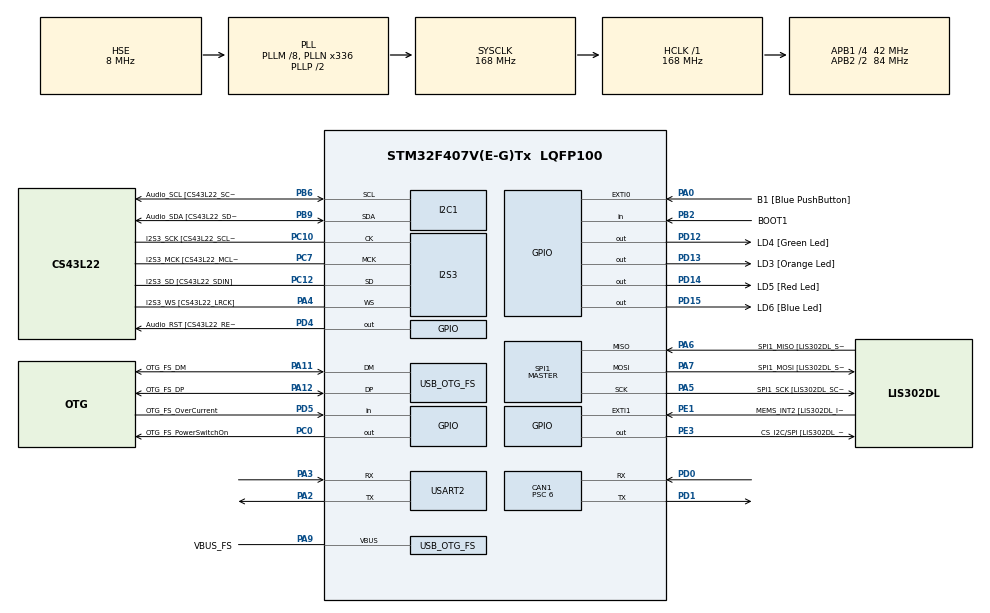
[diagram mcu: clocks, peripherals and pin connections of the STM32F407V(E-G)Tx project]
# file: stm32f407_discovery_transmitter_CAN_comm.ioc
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CAN1.ABOM=ENABLE
CAN1.BS1=CAN_BS1_11TQ
CAN1.BS2=CAN_BS2_2TQ
CAN1.CalculateBaudRate=500000
CAN1.CalculateTimeBit=2000
CAN1.CalculateTimeQuantum=142.85714285714286
CAN1.NART=ENABLE
CAN1.Prescaler=6
I2S3.AudioFreq-Half_Duplex_Master=I2S_AUDIOFREQ_96K
I2S3.ErrorAudioFreq=-2.34 %
I2S3.ErrorAudioFreq-Half_Duplex_Master=0.8 %
I2S3.FullDuplexMode=I2S_FULLDUPLEXMODE_DISABLE
I2S3.Instance=SPI$Index
I2S3.RealAudioFreq=93.75 KHz
I2S3.RealAudioFreq-Half_Duplex_Master=96.774 KHz
I2S3.VirtualMode=I2S_MODE_MASTER
Mcu.Family=STM32F4
Mcu.Name=STM32F407V(E-G)Tx
Mcu.Package=LQFP100
NVIC.CAN1_TX_IRQn=true\:0\:0\:false\:false\:true\:true\:true\:true
NVIC.OTG_FS_IRQn=true\:0\:0\:false\:false\:true\:true\:true\:true
NVIC.PriorityGroup=NVIC_PRIORITYGROUP_0
PA0-WKUP.GPIO_Label=B1 [Blue PushButton]
PA0-WKUP.GPIO_ModeDefaultEXTI=GPIO_MODE_EVT_RISING
PA0-WKUP.GPIO_PuPd=GPIO_NOPULL
PA0-WKUP.Signal=GPXTI0
PA10.GPIO_Label=OTG_FS_ID
PA10.GPIO_Mode=GPIO_MODE_AF_PP
PA10.GPIO_PuPd=GPIO_NOPULL
PA10.GPIO_Speed=GPIO_SPEED_FREQ_LOW
PA10.Signal=USB_OTG_FS_ID
PA11.GPIO_Label=OTG_FS_DM
PA11.GPIO_Mode=GPIO_MODE_AF_PP
PA11.GPIO_PuPd=GPIO_NOPULL
PA11.GPIO_Speed=GPIO_SPEED_FREQ_LOW
PA11.Mode=Host_Only
PA11.Signal=USB_OTG_FS_DM
PA12.GPIO_Label=OTG_FS_DP
PA12.GPIO_Mode=GPIO_MODE_AF_PP
PA12.GPIO_PuPd=GPIO_NOPULL
PA12.GPIO_Speed=GPIO_SPEED_FREQ_LOW
PA12.Mode=Host_Only
PA12.Signal=USB_OTG_FS_DP
PA13.GPIO_Label=SWDIO
PA13.Mode=Serial_Wire
PA13.Signal=SYS_JTMS-SWDIO
PA14.GPIO_Label=SWCLK
PA14.Mode=Serial_Wire
PA14.Signal=SYS_JTCK-SWCLK
PA2.Mode=Asynchronous
PA2.Signal=USART2_TX
PA3.Mode=Asynchronous
PA3.Signal=USART2_RX
PA4.GPIO_Label=I2S3_WS [CS43L22_LRCK]
PA4.GPIO_Mode=GPIO_MODE_AF_PP
PA4.GPIO_PuPd=GPIO_NOPULL
PA4.GPIO_Speed=GPIO_SPEED_FREQ_LOW
PA4.Mode=Half_Duplex_Master
PA4.Signal=I2S3_WS
PA5.GPIO_Label=SPI1_SCK [LIS302DL_SCL/SPC]
PA5.GPIO_Mode=GPIO_MODE_AF_PP
PA5.GPIO_PuPd=GPIO_NOPULL
PA5.GPIO_Speed=GPIO_SPEED_FREQ_LOW
PA5.Mode=Full_Duplex_Master
PA5.Signal=SPI1_SCK
PA6.GPIO_Label=SPI1_MISO [LIS302DL_SDO]
PA6.GPIO_Mode=GPIO_MODE_AF_PP
PA6.GPIO_PuPd=GPIO_NOPULL
PA6.GPIO_Speed=GPIO_SPEED_FREQ_LOW
PA6.Mode=Full_Duplex_Master
PA6.Signal=SPI1_MISO
PA7.GPIO_Label=SPI1_MOSI [LIS302DL_SDA/SDI/SDO]
PA7.GPIO_Mode=GPIO_MODE_AF_PP
PA7.GPIO_PuPd=GPIO_NOPULL
PA7.GPIO_Speed=GPIO_SPEED_FREQ_LOW
PA7.Mode=Full_Duplex_Master
PA7.Signal=SPI1_MOSI
PA9.GPIO_Label=VBUS_FS
PA9.GPIO_Mode=GPIO_MODE_INPUT
PA9.GPIO_PuPd=GPIO_NOPULL
PA9.Mode=Activate_VBUS
PA9.Signal=USB_OTG_FS_VBUS
PB10.GPIO_Label=CLK_IN [MP45DT02_CLK]
PB10.GPIO_Mode=GPIO_MODE_AF_PP
PB10.GPIO_PuPd=GPIO_NOPULL
PB10.GPIO_Speed=GPIO_SPEED_FREQ_LOW
PB10.Signal=I2S2_CK
PB2.GPIO_Label=BOOT1
PB2.GPIO_Mode=GPIO_MODE_INPUT
PB2.GPIO_PuPd=GPIO_NOPULL
PB2.Signal=GPIO_Input
PB3.GPIO_Label=SWO
PB3.Signal=SYS_JTDO-SWO
PB6.GPIO_Label=Audio_SCL [CS43L22_SCL]
PB6.GPIO_Mode=GPIO_MODE_AF_OD
PB6.GPIO_Pu=GPIO_PULLUP
PB6.GPIO_PuPd=GPIO_NOPULL
PB6.GPIO_Speed=GPIO_SPEED_FREQ_LOW
PB6.Mode=I2C
PB6.Signal=I2C1_SCL
PB9.GPIO_Label=Audio_SDA [CS43L22_SDA]
PB9.GPIO_Mode=GPIO_MODE_AF_OD
PB9.GPIO_Pu=GPIO_PULLUP
PB9.GPIO_PuPd=GPIO_NOPULL
PB9.GPIO_Speed=GPIO_SPEED_FREQ_LOW
PB9.Mode=I2C
PB9.Signal=I2C1_SDA
PC0.GPIO_Label=OTG_FS_PowerSwitchOn
PC0.GPIO_PuPd=GPIO_NOPULL
PC0.GPIO_Speed=GPIO_SPEED_FREQ_LOW
PC0.PinState=GPIO_PIN_SET
PC0.Signal=GPIO_Output
PC10.GPIO_Label=I2S3_SCK [CS43L22_SCLK]
PC10.GPIO_Mode=GPIO_MODE_AF_PP
PC10.GPIO_PuPd=GPIO_NOPULL
PC10.GPIO_Speed=GPIO_SPEED_FREQ_LOW
PC10.Mode=Half_Duplex_Master
PC10.Signal=I2S3_CK
PC12.GPIO_Label=I2S3_SD [CS43L22_SDIN]
PC12.GPIO_Mode=GPIO_MODE_AF_PP
PC12.GPIO_PuPd=GPIO_NOPULL
PC12.GPIO_Speed=GPIO_SPEED_FREQ_LOW
PC12.Mode=Half_Duplex_Master
PC12.Signal=I2S3_SD
PC14-OSC32_IN.GPIO_Label=PC14-OSC32_IN
PC14-OSC32_IN.Mode=LSE-External-Oscillator
PC14-OSC32_IN.Signal=RCC_OSC32_IN
PC15-OSC32_OUT.GPIO_Label=PC15-OSC32_OUT
PC15-OSC32_OUT.Mode=LSE-External-Oscillator
PC15-OSC32_OUT.Signal=RCC_OSC32_OUT
PC3.GPIO_Label=PDM_OUT [MP45DT02_DOUT]
PC3.GPIO_Mode=GPIO_MODE_AF_PP
PC3.GPIO_PuPd=GPIO_NOPULL
PC3.GPIO_Speed=GPIO_SPEED_FREQ_LOW
PC3.Signal=I2S2_SD
PC7.GPIO_Label=I2S3_MCK [CS43L22_MCLK]
PC7.GPIO_Mode=GPIO_MODE_AF_PP
PC7.GPIO_PuPd=GPIO_NOPULL
PC7.GPIO_Speed=GPIO_SPEED_FREQ_LOW
PC7.Mode=Master_Clock_Activated
PC7.Signal=I2S3_MCK
PD0.Mode=CAN_Activate
PD0.Signal=CAN1_RX
PD1.Mode=CAN_Activate
PD1.Signal=CAN1_TX
PD12.GPIO_Label=LD4 [Green Led]
PD12.GPIO_PuPd=GPIO_NOPULL
PD12.GPIO_Speed=GPIO_SPEED_FREQ_LOW
PD12.Signal=GPIO_Output
PD13.GPIO_Label=LD3 [Orange Led]
PD13.GPIO_PuPd=GPIO_NOPULL
PD13.GPIO_Speed=GPIO_SPEED_FREQ_LOW
PD13.Signal=GPIO_Output
PD14.GPIO_Label=LD5 [Red Led]
PD14.GPIO_PuPd=GPIO_NOPULL
PD14.GPIO_Speed=GPIO_SPEED_FREQ_LOW
PD14.Signal=GPIO_Output
PD15.GPIO_Label=LD6 [Blue Led]
PD15.GPIO_PuPd=GPIO_NOPULL
PD15.GPIO_Speed=GPIO_SPEED_FREQ_LOW
PD15.Signal=GPIO_Output
PD4.GPIO_Label=Audio_RST [CS43L22_RESET]
PD4.GPIO_PuPd=GPIO_NOPULL
PD4.GPIO_Speed=GPIO_SPEED_FREQ_LOW
PD4.Signal=GPIO_Output
PD5.GPIO_Label=OTG_FS_OverCurrent
PD5.GPIO_Mode=GPIO_MODE_INPUT
PD5.GPIO_PuPd=GPIO_NOPULL
PD5.Signal=GPIO_Input
PE1.GPIO_Label=MEMS_INT2 [LIS302DL_INT2]
PE1.GPIO_ModeDefaultEXTI=GPIO_MODE_EVT_RISING
PE1.GPIO_PuPd=GPIO_NOPULL
PE1.Signal=GPXTI1
PE3.GPIO_Label=CS_I2C/SPI [LIS302DL_CS_I2C/SPI]
PE3.GPIO_PuPd=GPIO_NOPULL
PE3.GPIO_Speed=GPIO_SPEED_FREQ_LOW
PE3.Signal=GPIO_Output
PH0-OSC_IN.GPIO_Label=PH0-OSC_IN
PH0-OSC_IN.Mode=HSE-External-Oscillator
PH0-OSC_IN.Signal=RCC_OSC_IN
PH1-OSC_OUT.GPIO_Label=PH1-OSC_OUT
PH1-OSC_OUT.Mode=HSE-External-Oscillator
PH1-OSC_OUT.Signal=RCC_OSC_OUT
ProjectManager.HeapSize=0x200
ProjectManager.StackSize=0x400
ProjectManager.TargetToolchain=STM32CubeIDE
RCC.48MHZClocksFreq_Value=48000000
RCC.AHBFreq_Value=168000000
RCC.APB1CLKDivider=RCC_HCLK_DIV4
RCC.APB1Freq_Value=42000000
RCC.APB1TimFreq_Value=84000000
RCC.APB2CLKDivider=RCC_HCLK_DIV2
RCC.APB2Freq_Value=84000000
RCC.APB2TimFreq_Value=168000000
RCC.CortexFreq_Value=168000000
RCC.HCLKFreq_Value=168000000
RCC.HSE_VALUE=8000000
RCC.HSI_VALUE=16000000
RCC.PLLM=8
RCC.PLLN=336
RCC.PLLQ=7
RCC.SYSCLKFreq_VALUE=168000000
RCC.SYSCLKSource=RCC_SYSCLKSOURCE_PLLCLK
RCC.VCOOutputFreq_Value=336000000
SPI1.BaudRatePrescaler-Full_Duplex_Master=SPI_BAUDRATEPRESCALER_2
SPI1.CalculateBaudRate-Full_Duplex_Master=42.0 MBits/s
SPI1.Direction=SPI_DIRECTION_2LINES
SPI1.Mode=SPI_MODE_MASTER
SPI1.Mode-Full_Duplex_Master=SPI_MODE_MASTER
SPI1.VirtualType=VM_MASTER
USART2.VirtualMode=VM_ASYNC
USB_HOST.BSP.number=1
USB_HOST.USBH_HandleTypeDef-CDC_FS=hUsbHostFS
USB_HOST.VirtualModeFS=Cdc
USB_HOST0.BSP.STBoard=false
USB_HOST0.BSP.api=Unknown
USB_HOST0.BSP.instance=PC0
USB_HOST0.BSP.ip=GPIO
USB_HOST0.BSP.mode=Output
USB_HOST0.BSP.name=Drive_VBUS_FS
USB_HOST0.BSP.solution=PC0
USB_OTG_FS.VirtualMode=Host_Only
USB_OTG_FS.phy_itface=HCD_PHY_EMBEDDED
VP_USB_HOST_VS_USB_HOST_CDC_FS.Mode=CDC_FS
board=STM32F407G-DISC1

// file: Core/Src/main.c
/* USER CODE BEGIN Header */
/**
  ******************************************************************************
  * @file           : main.c
  * @brief          : Main program body
  ******************************************************************************
  * @attention
  *
  * Copyright (c) 2026 STMicroelectronics.
  * All rights reserved.
  *
  * This software is licensed under terms that can be found in the LICENSE file
  * in the root directory of this software component.
  * If no LICENSE file comes with this software, it is provided AS-IS.
  *
  ******************************************************************************
  */
/* USER CODE END Header */
#include "main.h"
#include "usb_host.h"

/* USER CODE BEGIN Includes */
#include<stdio.h>
/* USER CODE END Includes */

CAN_HandleTypeDef hcan1;

I2C_HandleTypeDef hi2c1;

I2S_HandleTypeDef hi2s3;

SPI_HandleTypeDef hspi1;

UART_HandleTypeDef huart2;

void SystemClock_Config(void);
static void MX_GPIO_Init(void);
static void MX_I2C1_Init(void);
static void MX_I2S3_Init(void);
static void MX_SPI1_Init(void);
static void MX_CAN1_Init(void);
static void MX_USART2_UART_Init(void);
void MX_USB_HOST_Process(void);

int main(void)
{

  /* MCU Configuration--------------------------------------------------------*/

  /* Reset of all peripherals, Initializes the Flash interface and the Systick. */
  HAL_Init();

  /* Configure the system clock */
  SystemClock_Config();

  /* Initialize all configured peripherals */
  MX_GPIO_Init();
  MX_I2C1_Init();
  MX_I2S3_Init();
  MX_SPI1_Init();
  MX_USB_HOST_Init();
  MX_CAN1_Init();
  MX_USART2_UART_Init();
  /* USER CODE BEGIN 2 */
  CAN_TxHeaderTypeDef TxHeader;
  	      uint8_t TxData[9] = "Bhanusri";
  	      uint32_t TxMailbox;

  CAN_FilterTypeDef sFilterConfig;

  sFilterConfig.FilterBank = 0;
  sFilterConfig.FilterMode = CAN_FILTERMODE_IDMASK;
  sFilterConfig.FilterScale = CAN_FILTERSCALE_32BIT;
  sFilterConfig.FilterIdHigh = 0x0000;
  sFilterConfig.FilterIdLow = 0x0000;
  sFilterConfig.FilterMaskIdHigh = 0x0000;
  sFilterConfig.FilterMaskIdLow = 0x0000;
  sFilterConfig.FilterFIFOAssignment = CAN_RX_FIFO0;
  sFilterConfig.FilterActivation = ENABLE;
  sFilterConfig.SlaveStartFilterBank = 14;

  HAL_CAN_ConfigFilter(&hcan1, &sFilterConfig);

  HAL_CAN_Start(&hcan1);
  HAL_CAN_ActivateNotification(&hcan1,
      CAN_IT_TX_MAILBOX_EMPTY |
      CAN_IT_ERROR |
      CAN_IT_BUSOFF);

  printf("CAN Started Successfully\r\n");

  TxHeader.StdId = 0x123;
  TxHeader.ExtId = 0;
  TxHeader.RTR = CAN_RTR_DATA;
  TxHeader.IDE = CAN_ID_STD;
  TxHeader.DLC = 8;
  TxHeader.TransmitGlobalTime = DISABLE;
  /* USER CODE END 2 */

  /* Infinite loop */
  /* USER CODE BEGIN WHILE */
  while (1)
  {

	      TxHeader.StdId = 0x123;
	      TxHeader.ExtId = 0;
	      TxHeader.RTR = CAN_RTR_DATA;
	      TxHeader.IDE = CAN_ID_STD;
	      TxHeader.DLC = 8;
	      TxHeader.TransmitGlobalTime = DISABLE;

	      while (HAL_CAN_GetTxMailboxesFreeLevel(&hcan1) == 0);

	      HAL_StatusTypeDef status;
	      	  status = HAL_CAN_AddTxMessage(&hcan1, &TxHeader, TxData, &TxMailbox);
	      	if (status == HAL_OK)
	      	{
	      	    printf("Message loaded into mailbox\r\n");
	      	}
	      	else
	      	{
	      	    printf("Mailbox Error\r\n");
	      	}

	      HAL_Delay(5000);   // send every 5 seconds

    /* USER CODE END WHILE */
    MX_USB_HOST_Process();

  }
}

void SystemClock_Config(void)
{
  RCC_OscInitTypeDef RCC_OscInitStruct = {0};
  RCC_ClkInitTypeDef RCC_ClkInitStruct = {0};

  /** Configure the main internal regulator output voltage
  */
  __HAL_RCC_PWR_CLK_ENABLE();
  __HAL_PWR_VOLTAGESCALING_CONFIG(PWR_REGULATOR_VOLTAGE_SCALE1);

  /** Initializes the RCC Oscillators according to the specified parameters
  * in the RCC_OscInitTypeDef structure.
  */
  RCC_OscInitStruct.OscillatorType = RCC_OSCILLATORTYPE_HSE;
  RCC_OscInitStruct.HSEState = RCC_HSE_ON;
  RCC_OscInitStruct.PLL.PLLState = RCC_PLL_ON;
  RCC_OscInitStruct.PLL.PLLSource = RCC_PLLSOURCE_HSE;
  RCC_OscInitStruct.PLL.PLLM = 8;
  RCC_OscInitStruct.PLL.PLLN = 336;
  RCC_OscInitStruct.PLL.PLLP = RCC_PLLP_DIV2;
  RCC_OscInitStruct.PLL.PLLQ = 7;
  if (HAL_RCC_OscConfig(&RCC_OscInitStruct) != HAL_OK)
  {
    Error_Handler();
  }

  /** Initializes the CPU, AHB and APB buses clocks
  */
  RCC_ClkInitStruct.ClockType = RCC_CLOCKTYPE_HCLK|RCC_CLOCKTYPE_SYSCLK
                              |RCC_CLOCKTYPE_PCLK1|RCC_CLOCKTYPE_PCLK2;
  RCC_ClkInitStruct.SYSCLKSource = RCC_SYSCLKSOURCE_PLLCLK;
  RCC_ClkInitStruct.AHBCLKDivider = RCC_SYSCLK_DIV1;
  RCC_ClkInitStruct.APB1CLKDivider = RCC_HCLK_DIV4;
  RCC_ClkInitStruct.APB2CLKDivider = RCC_HCLK_DIV2;

  if (HAL_RCC_ClockConfig(&RCC_ClkInitStruct, FLASH_LATENCY_5) != HAL_OK)
  {
    Error_Handler();
  }
}

static void MX_CAN1_Init(void)
{

  hcan1.Instance = CAN1;
  hcan1.Init.Prescaler = 6;
  hcan1.Init.Mode = CAN_MODE_NORMAL;
  hcan1.Init.SyncJumpWidth = CAN_SJW_1TQ;
  hcan1.Init.TimeSeg1 = CAN_BS1_11TQ;
  hcan1.Init.TimeSeg2 = CAN_BS2_2TQ;
  hcan1.Init.TimeTriggeredMode = DISABLE;
  hcan1.Init.AutoBusOff = ENABLE;
  hcan1.Init.AutoWakeUp = DISABLE;
  hcan1.Init.AutoRetransmission = ENABLE;
  hcan1.Init.ReceiveFifoLocked = DISABLE;
  hcan1.Init.TransmitFifoPriority = DISABLE;
  if (HAL_CAN_Init(&hcan1) != HAL_OK)
  {
    Error_Handler();
  }

}

static void MX_I2C1_Init(void)
{

  hi2c1.Instance = I2C1;
  hi2c1.Init.ClockSpeed = 100000;
  hi2c1.Init.DutyCycle = I2C_DUTYCYCLE_2;
  hi2c1.Init.OwnAddress1 = 0;
  hi2c1.Init.AddressingMode = I2C_ADDRESSINGMODE_7BIT;
  hi2c1.Init.DualAddressMode = I2C_DUALADDRESS_DISABLE;
  hi2c1.Init.OwnAddress2 = 0;
  hi2c1.Init.GeneralCallMode = I2C_GENERALCALL_DISABLE;
  hi2c1.Init.NoStretchMode = I2C_NOSTRETCH_DISABLE;
  if (HAL_I2C_Init(&hi2c1) != HAL_OK)
  {
    Error_Handler();
  }

}

static void MX_I2S3_Init(void)
{

  hi2s3.Instance = SPI3;
  hi2s3.Init.Mode = I2S_MODE_MASTER_TX;
  hi2s3.Init.Standard = I2S_STANDARD_PHILIPS;
  hi2s3.Init.DataFormat = I2S_DATAFORMAT_16B;
  hi2s3.Init.MCLKOutput = I2S_MCLKOUTPUT_ENABLE;
  hi2s3.Init.AudioFreq = I2S_AUDIOFREQ_96K;
  hi2s3.Init.CPOL = I2S_CPOL_LOW;
  hi2s3.Init.ClockSource = I2S_CLOCK_PLL;
  hi2s3.Init.FullDuplexMode = I2S_FULLDUPLEXMODE_DISABLE;
  if (HAL_I2S_Init(&hi2s3) != HAL_OK)
  {
    Error_Handler();
  }

}

static void MX_SPI1_Init(void)
{

  /* SPI1 parameter configuration*/
  hspi1.Instance = SPI1;
  hspi1.Init.Mode = SPI_MODE_MASTER;
  hspi1.Init.Direction = SPI_DIRECTION_2LINES;
  hspi1.Init.DataSize = SPI_DATASIZE_8BIT;
  hspi1.Init.CLKPolarity = SPI_POLARITY_LOW;
  hspi1.Init.CLKPhase = SPI_PHASE_1EDGE;
  hspi1.Init.NSS = SPI_NSS_SOFT;
  hspi1.Init.BaudRatePrescaler = SPI_BAUDRATEPRESCALER_2;
  hspi1.Init.FirstBit = SPI_FIRSTBIT_MSB;
  hspi1.Init.TIMode = SPI_TIMODE_DISABLE;
  hspi1.Init.CRCCalculation = SPI_CRCCALCULATION_DISABLE;
  hspi1.Init.CRCPolynomial = 10;
  if (HAL_SPI_Init(&hspi1) != HAL_OK)
  {
    Error_Handler();
  }

}

static void MX_USART2_UART_Init(void)
{

  huart2.Instance = USART2;
  huart2.Init.BaudRate = 115200;
  huart2.Init.WordLength = UART_WORDLENGTH_8B;
  huart2.Init.StopBits = UART_STOPBITS_1;
  huart2.Init.Parity = UART_PARITY_NONE;
  huart2.Init.Mode = UART_MODE_TX_RX;
  huart2.Init.HwFlowCtl = UART_HWCONTROL_NONE;
  huart2.Init.OverSampling = UART_OVERSAMPLING_16;
  if (HAL_UART_Init(&huart2) != HAL_OK)
  {
    Error_Handler();
  }

}

static void MX_GPIO_Init(void)
{
  GPIO_InitTypeDef GPIO_InitStruct = {0};

  /* GPIO Ports Clock Enable */
  __HAL_RCC_GPIOE_CLK_ENABLE();
  __HAL_RCC_GPIOC_CLK_ENABLE();
  __HAL_RCC_GPIOH_CLK_ENABLE();
  __HAL_RCC_GPIOA_CLK_ENABLE();
  __HAL_RCC_GPIOB_CLK_ENABLE();
  __HAL_RCC_GPIOD_CLK_ENABLE();

  /*Configure GPIO pin Output Level */
  HAL_GPIO_WritePin(CS_I2C_SPI_GPIO_Port, CS_I2C_SPI_Pin, GPIO_PIN_RESET);

  /*Configure GPIO pin Output Level */
  HAL_GPIO_WritePin(OTG_FS_PowerSwitchOn_GPIO_Port, OTG_FS_PowerSwitchOn_Pin, GPIO_PIN_SET);

  /*Configure GPIO pin Output Level */
  HAL_GPIO_WritePin(GPIOD, LD4_Pin|LD3_Pin|LD5_Pin|LD6_Pin
                          |Audio_RST_Pin, GPIO_PIN_RESET);

  /*Configure GPIO pin : CS_I2C_SPI_Pin */
  GPIO_InitStruct.Pin = CS_I2C_SPI_Pin;
  GPIO_InitStruct.Mode = GPIO_MODE_OUTPUT_PP;
  GPIO_InitStruct.Pull = GPIO_NOPULL;
  GPIO_InitStruct.Speed = GPIO_SPEED_FREQ_LOW;
  HAL_GPIO_Init(CS_I2C_SPI_GPIO_Port, &GPIO_InitStruct);

  /*Configure GPIO pin : OTG_FS_PowerSwitchOn_Pin */
  GPIO_InitStruct.Pin = OTG_FS_PowerSwitchOn_Pin;
  GPIO_InitStruct.Mode = GPIO_MODE_OUTPUT_PP;
  GPIO_InitStruct.Pull = GPIO_NOPULL;
  GPIO_InitStruct.Speed = GPIO_SPEED_FREQ_LOW;
  HAL_GPIO_Init(OTG_FS_PowerSwitchOn_GPIO_Port, &GPIO_InitStruct);

  /*Configure GPIO pin : PDM_OUT_Pin */
  GPIO_InitStruct.Pin = PDM_OUT_Pin;
  GPIO_InitStruct.Mode = GPIO_MODE_AF_PP;
  GPIO_InitStruct.Pull = GPIO_NOPULL;
  GPIO_InitStruct.Speed = GPIO_SPEED_FREQ_LOW;
  GPIO_InitStruct.Alternate = GPIO_AF5_SPI2;
  HAL_GPIO_Init(PDM_OUT_GPIO_Port, &GPIO_InitStruct);

  /*Configure GPIO pin : B1_Pin */
  GPIO_InitStruct.Pin = B1_Pin;
  GPIO_InitStruct.Mode = GPIO_MODE_EVT_RISING;
  GPIO_InitStruct.Pull = GPIO_NOPULL;
  HAL_GPIO_Init(B1_GPIO_Port, &GPIO_InitStruct);

  /*Configure GPIO pin : BOOT1_Pin */
  GPIO_InitStruct.Pin = BOOT1_Pin;
  GPIO_InitStruct.Mode = GPIO_MODE_INPUT;
  GPIO_InitStruct.Pull = GPIO_NOPULL;
  HAL_GPIO_Init(BOOT1_GPIO_Port, &GPIO_InitStruct);

  /*Configure GPIO pin : CLK_IN_Pin */
  GPIO_InitStruct.Pin = CLK_IN_Pin;
  GPIO_InitStruct.Mode = GPIO_MODE_AF_PP;
  GPIO_InitStruct.Pull = GPIO_NOPULL;
  GPIO_InitStruct.Speed = GPIO_SPEED_FREQ_LOW;
  GPIO_InitStruct.Alternate = GPIO_AF5_SPI2;
  HAL_GPIO_Init(CLK_IN_GPIO_Port, &GPIO_InitStruct);

  /*Configure GPIO pins : LD4_Pin LD3_Pin LD5_Pin LD6_Pin
                           Audio_RST_Pin */
  GPIO_InitStruct.Pin = LD4_Pin|LD3_Pin|LD5_Pin|LD6_Pin
                          |Audio_RST_Pin;
  GPIO_InitStruct.Mode = GPIO_MODE_OUTPUT_PP;
  GPIO_InitStruct.Pull = GPIO_NOPULL;
  GPIO_InitStruct.Speed = GPIO_SPEED_FREQ_LOW;
  HAL_GPIO_Init(GPIOD, &GPIO_InitStruct);

  /*Configure GPIO pin : OTG_FS_OverCurrent_Pin */
  GPIO_InitStruct.Pin = OTG_FS_OverCurrent_Pin;
  GPIO_InitStruct.Mode = GPIO_MODE_INPUT;
  GPIO_InitStruct.Pull = GPIO_NOPULL;
  HAL_GPIO_Init(OTG_FS_OverCurrent_GPIO_Port, &GPIO_InitStruct);

  /*Configure GPIO pin : MEMS_INT2_Pin */
  GPIO_InitStruct.Pin = MEMS_INT2_Pin;
  GPIO_InitStruct.Mode = GPIO_MODE_EVT_RISING;
  GPIO_InitStruct.Pull = GPIO_NOPULL;
  HAL_GPIO_Init(MEMS_INT2_GPIO_Port, &GPIO_InitStruct);

}

/* USER CODE BEGIN 4 */
void HAL_CAN_TxMailbox0CompleteCallback(CAN_HandleTypeDef *hcan)
{
    // Transmission successful (ACK received)
    HAL_GPIO_TogglePin(GPIOD, LD4_Pin);  // Green LED
}

void HAL_CAN_ErrorCallback(CAN_HandleTypeDef *hcan)
{
    // Error like no ACK
    HAL_GPIO_WritePin(GPIOD, LD5_Pin, GPIO_PIN_SET);  // Red LED ON
}
int _write(int file, char *ptr, int len)
{
    HAL_UART_Transmit(&huart2, (uint8_t*)ptr, len, HAL_MAX_DELAY);
    return len;
}

/* USER CODE END 4 */

void Error_Handler(void)
{
  __disable_irq();
  while (1)
  {
  }
}
